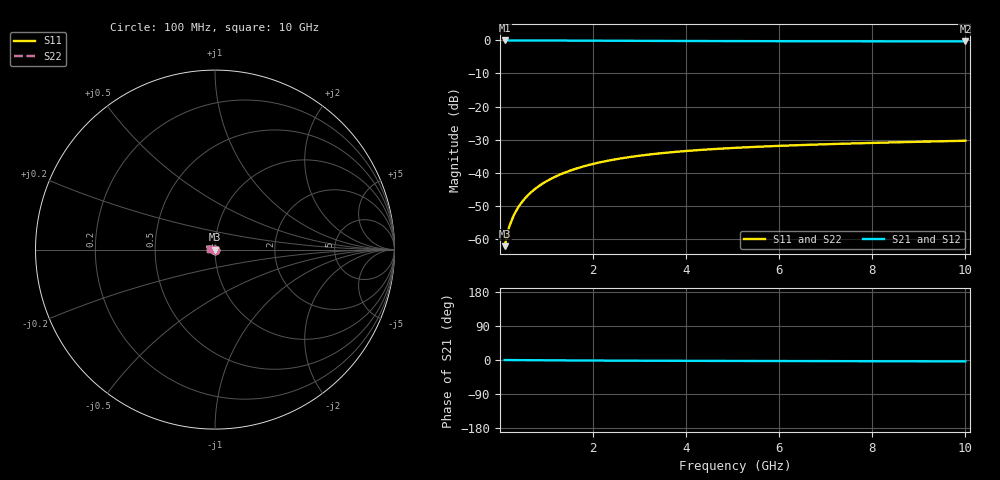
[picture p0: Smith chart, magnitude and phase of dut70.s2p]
! Touchstone file exported from HFSS 2024.1.0
!  File:  C:/UserFiles/LocalFiles/RDL_TSV_Batchsim/temp_TSV1_70_1779374057.aedt
!  Generated:  10:39:58 PM May 21, 2026
!  Design:  TSV1
!  Project:  temp_TSV1_70_1779374057
!  Setup:  Setup1
!  Solution:  Sweep
! Variables:
!  dtsv = 8.81um
!  hbump = 3um
!  htsv = 54.47um
!  lrdl = 252.1521522um
!  p = 40
!  p1 = 46.54um
!  t = 500um
!  trdl = 3um
!  wrdl = 24.89489489um
# GHz S MA R 50.000000
! Terminal data exported
! Port[1] = TSV22_T1
! Port[2] = TSV22_T2
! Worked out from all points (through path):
!   100 points, 100 MHz to 10 GHz, reference 50 ohm
!   highest |S21| = 0.00 dB at 100 MHz (marker M1); lowest = -0.3 dB at 10 GHz (marker M2)
!   lowest |S11| = -62.3 dB at 100 MHz (marker M3), VSWR 1.00, Z = 50 - j0.076 ohm
!   |S11| at or under -10 dB: start of sweep to end of sweep
!   |S22| runs from -62.3 to -30.4 dB; largest |S21 - S12| = 9e-15
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0.1  0.0007706 -80.5  0.9998 -0.1  0.9998 -0.1  0.0007706 -80.5
! Gamma 0 0 0 0
! Port Impedance 50 0 50 0
0.2  0.001531 -87.8  0.9997 -0.2  0.9997 -0.2  0.001531 -87.8
0.3  0.002292 -91.5  0.9996 -0.3  0.9996 -0.3  0.002292 -91.5
0.4  0.003048 -94.3  0.9994 -0.3  0.9994 -0.3  0.003048 -94.3
0.5  0.003799 -96.7  0.9992 -0.4  0.9992 -0.4  0.003799 -96.7
0.6  0.004541 -99.0  0.9989 -0.5  0.9989 -0.5  0.004541 -99.0
0.7  0.005274 -101.0  0.9986 -0.6  0.9986 -0.6  0.005274 -101.0
0.8  0.005996 -103.0  0.9983 -0.7  0.9983 -0.7  0.005996 -103.0
0.9  0.006706 -104.9  0.9979 -0.7  0.9979 -0.7  0.006706 -104.9
1.1  0.008088 -108.7  0.997 -0.9  0.997 -0.9  0.008088 -108.7
1.4  0.01005 -113.9  0.9955 -1.1  0.9955 -1.1  0.01005 -113.9
1.6  0.01128 -117.2  0.9944 -1.2  0.9944 -1.2  0.01128 -117.2
1.8  0.01243 -120.4  0.9932 -1.3  0.9932 -1.3  0.01243 -120.4
2.1  0.01405 -125.0  0.9915 -1.5  0.9915 -1.5  0.01405 -125.0
2.5  0.01597 -130.6  0.9891 -1.7  0.9891 -1.7  0.01597 -130.6
2.9  0.01764 -135.8  0.9868 -1.8  0.9868 -1.8  0.01764 -135.8
3.4  0.01944 -141.7  0.9841 -2.0  0.9841 -2.0  0.01944 -141.7
4.2  0.02176 -149.9  0.9805 -2.3  0.9805 -2.3  0.02176 -149.9
5.1  0.02378 -157.8  0.9772 -2.5  0.9772 -2.5  0.02378 -157.8
6.7  0.02645 -169.2  0.9729 -2.9  0.9729 -2.9  0.02645 -169.2
8.4  0.02861 -178.9  0.9699 -3.3  0.9699 -3.3  0.02861 -178.9
10  0.03036 173.4  0.968 -3.7  0.968 -3.7  0.03036 173.4
